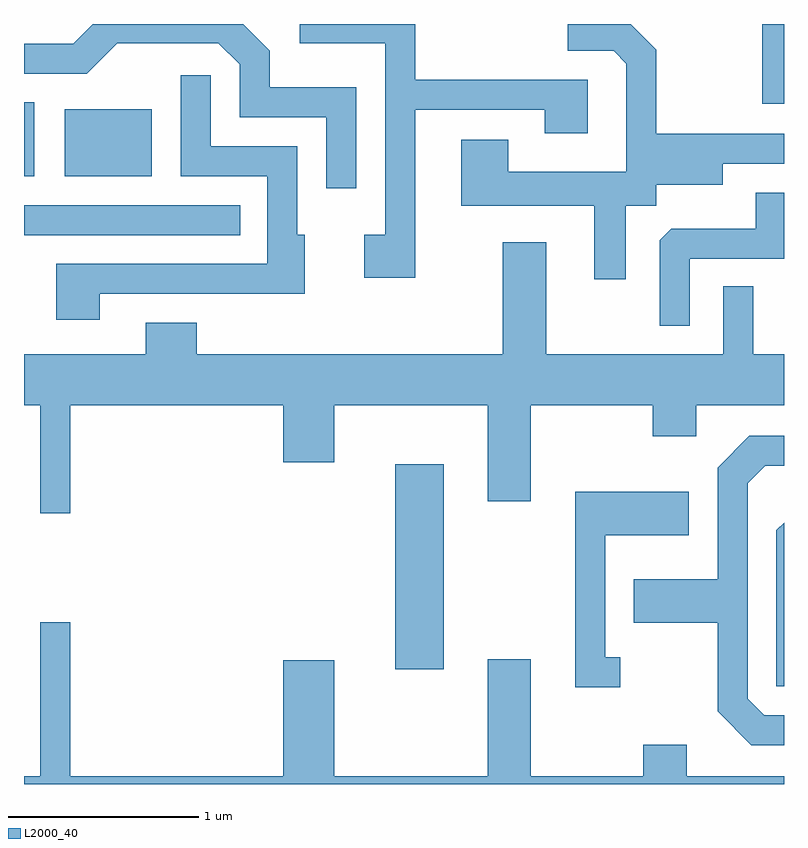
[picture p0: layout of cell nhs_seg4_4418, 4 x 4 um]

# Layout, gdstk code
import gdstk
lib = gdstk.Library(unit=1e-6, precision=1e-09)
def R(c, l, rs):  # rectangles x0, y0, x1, y1
    for r in rs: c.add(gdstk.rectangle(r[:2], r[2:], *l))
def P(c, l, *ps):  # polygons
    for p in ps: c.add(gdstk.Polygon(p, *l))
L2000_40 = (2000, 40)

nhs_seg4_4418 = lib.new_cell('nhs_seg4_4418')
R(nhs_seg4_4418, L2000_40, [(315.566,1386.586,315.819,1387.664), (313.611,1388.871,314.748,1389.029), (313.611,1389.181,313.664,1389.569), (313.826,1389.181,314.284,1389.534), (317.496,1389.561,317.611,1389.982)])
P(nhs_seg4_4418, L2000_40, [(315.359,1389.649),(314.904,1389.649),(314.904,1389.842),(314.764,1389.982),(313.972,1389.982),(313.869,1389.879),(313.611,1389.879),(313.611,1389.721),(313.942,1389.721),(314.102,1389.881),(314.634,1389.881),(314.746,1389.769),(314.746,1389.491),(315.201,1389.491),(315.201,1389.118),(315.359,1389.118)],
  [(316.779,1389.026),(316.939,1389.026),(316.939,1389.136),(317.289,1389.136),(317.289,1389.246),(317.611,1389.246),(317.611,1389.404),(316.939,1389.404),(316.939,1389.847),(316.804,1389.982),(316.473,1389.982),(316.473,1389.841),(316.714,1389.841),(316.781,1389.774),(316.781,1389.204),(316.159,1389.204),(316.159,1389.374),(315.911,1389.374),(315.911,1389.026),(316.611,1389.026),(316.611,1388.638),(316.779,1388.638)],
  [(315.669,1389.531),(316.351,1389.531),(316.351,1389.406),(316.579,1389.406),(316.579,1389.689),(315.669,1389.689),(315.669,1389.982),(315.063,1389.982),(315.063,1389.881),(315.511,1389.881),(315.511,1388.874),(315.401,1388.874),(315.401,1388.646),(315.669,1388.646)],
  [(314.009,1388.561),(315.089,1388.561),(315.089,1388.874),(315.049,1388.874),(315.049,1389.339),(314.594,1389.339),(314.594,1389.713),(314.436,1389.713),(314.436,1389.181),(314.891,1389.181),(314.891,1388.719),(313.781,1388.719),(313.781,1388.426),(314.009,1388.426)],
  [(317.114,1388.746),(317.611,1388.746),(317.611,1389.094),(317.461,1389.094),(317.461,1388.904),(317.017,1388.904),(316.956,1388.844),(316.956,1388.393),(317.114,1388.393)],
  [(314.519,1388.409),(314.251,1388.409),(314.251,1388.244),(313.611,1388.244),(313.611,1387.976),(313.696,1387.976),(313.696,1387.408),(313.854,1387.408),(313.854,1387.976),(314.976,1387.976),(314.976,1387.676),(315.244,1387.676),(315.244,1387.976),(316.051,1387.976),(316.051,1387.471),(316.279,1387.471),(316.279,1387.976),(316.921,1387.976),(316.921,1387.811),(317.149,1387.811),(317.149,1387.976),(317.611,1387.976),(317.611,1388.244),(317.449,1388.244),(317.449,1388.603),(317.291,1388.603),(317.291,1388.244),(316.359,1388.244),(316.359,1388.834),(316.131,1388.834),(316.131,1388.244),(314.519,1388.244)],
  [(317.611,1386.344),(317.507,1386.344),(317.419,1386.432),(317.419,1387.564),(317.512,1387.656),(317.611,1387.656),(317.611,1387.814),(317.429,1387.814),(317.261,1387.647),(317.261,1387.059),(316.821,1387.059),(316.821,1386.831),(317.261,1386.831),(317.261,1386.364),(317.439,1386.186),(317.611,1386.186)],
  [(316.748,1386.649),(316.669,1386.649),(316.669,1387.291),(317.109,1387.291),(317.109,1387.519),(316.511,1387.519),(316.511,1386.491),(316.748,1386.491)],
  [(317.611,1387.357),(317.571,1387.317),(317.571,1386.496),(317.611,1386.496)],
  [(317.611,1386.024),(317.099,1386.024),(317.099,1386.189),(316.871,1386.189),(316.871,1386.024),(316.279,1386.024),(316.279,1386.639),(316.051,1386.639),(316.051,1386.024),(315.244,1386.024),(315.244,1386.634),(314.976,1386.634),(314.976,1386.024),(313.854,1386.024),(313.854,1386.833),(313.696,1386.833),(313.696,1386.024),(313.611,1386.024),(313.611,1385.982),(317.611,1385.982)])

lib.write_gds('nhs_seg4_4418.gds')
